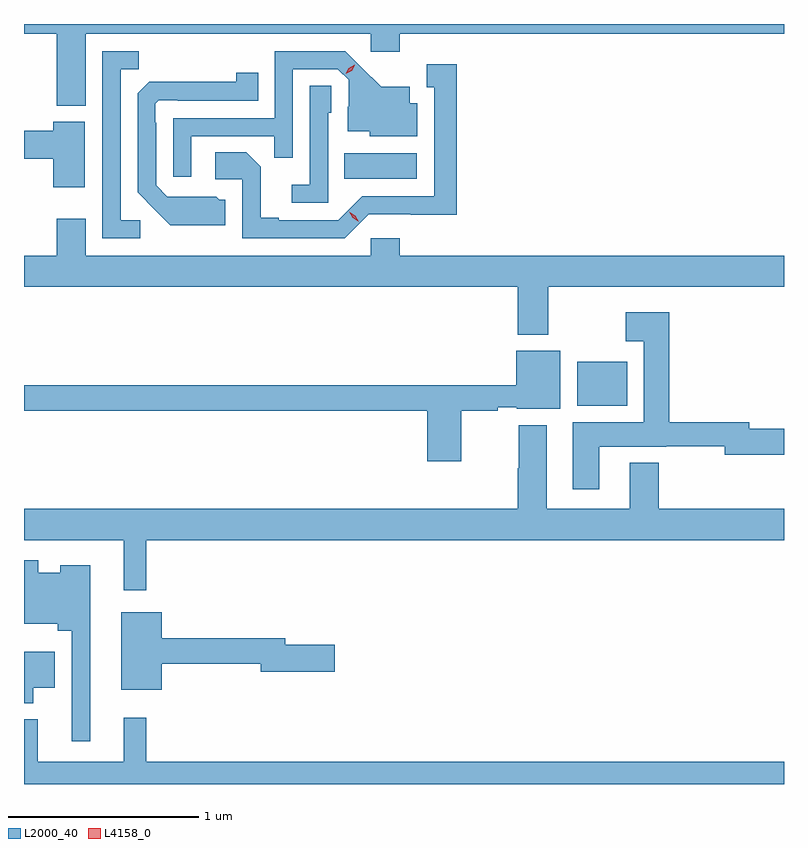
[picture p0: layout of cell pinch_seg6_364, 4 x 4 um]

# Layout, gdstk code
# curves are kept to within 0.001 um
import gdstk
lib = gdstk.Library(unit=1e-6, precision=1e-09)
def R(c, l, rs):  # rectangles x0, y0, x1, y1
    for r in rs: c.add(gdstk.rectangle(r[:2], r[2:], *l))
def P(c, l, *ps):  # polygons
    for p in ps: c.add(gdstk.Polygon(p, *l))
L2000_40 = (2000, 40)
L4158_0 = (4158, 0)

pinch_seg6_364 = lib.new_cell('pinch_seg6_364')
R(pinch_seg6_364, L2000_40, [(637.205,949.376,637.468,949.606), (635.98,950.57,636.361,950.704)])
P(pinch_seg6_364, L2000_40, [(634.618,951.332),(636.12,951.332),(636.12,951.237),(636.272,951.237),(636.272,951.332),(638.294,951.332),(638.294,951.384),(634.294,951.384),(634.294,951.332),(634.466,951.332),(634.466,950.954),(634.618,950.954)],
  [(634.906,950.352),(634.803,950.352),(634.803,951.145),(634.899,951.145),(634.899,951.24),(634.707,951.24),(634.707,950.256),(634.906,950.256)],
  [(635.175,950.793),(635.611,950.793),(635.611,950.68),(635.709,950.68),(635.709,951.147),(635.946,951.147),(636.003,951.09),(636.003,950.948),(635.999,950.948),(635.999,950.819),(636.114,950.819),(636.114,950.792),(636.364,950.792),(636.364,950.968),(636.325,950.968),(636.325,951.055),(636.173,951.055),(635.986,951.24),(635.613,951.24),(635.613,950.889),(635.079,950.889),(635.079,950.58),(635.175,950.58)],
  [(636.108,950.382),(636.571,950.381),(636.571,951.172),(636.413,951.172),(636.413,951.051),(636.452,951.051),(636.452,950.478),(636.075,950.478),(635.949,950.352),(635.635,950.352),(635.635,950.365),(635.541,950.365),(635.541,950.632),(635.465,950.708),(635.301,950.708),(635.301,950.568),(635.442,950.568),(635.442,950.256),(635.982,950.256)],
  [(635.353,950.46),(635.322,950.46),(635.306,950.476),(635.049,950.475),(634.989,950.535),(634.989,950.864),(634.986,950.864),(634.986,950.964),(635.004,950.982),(635.104,950.982),(635.104,950.979),(635.528,950.979),(635.528,951.127),(635.41,951.127),(635.41,951.08),(634.952,951.079),(634.893,951.02),(634.893,950.498),(635.065,950.324),(635.353,950.324)],
  [(635.895,950.916),(635.91,950.916),(635.91,951.059),(635.799,951.059),(635.799,950.539),(635.703,950.539),(635.703,950.442),(635.895,950.442)],
  [(634.615,950.869),(634.448,950.869),(634.448,950.822),(634.294,950.822),(634.294,950.675),(634.448,950.675),(634.448,950.526),(634.615,950.526)],
  [(637.053,950),(638.294,950),(638.294,950.164),(636.272,950.164),(636.272,950.257),(636.12,950.257),(636.12,950.164),(634.618,950.164),(634.618,950.359),(634.466,950.359),(634.466,950.164),(634.294,950.164),(634.294,950),(636.893,950),(636.893,949.748),(637.053,949.748)],
  [(637.321,949.16),(637.674,949.16),(637.674,949.161),(637.982,949.161),(637.982,949.118),(638.294,949.118),(638.294,949.253),(638.11,949.253),(638.11,949.289),(637.691,949.289),(637.691,949.867),(637.461,949.867),(637.461,949.715),(637.556,949.715),(637.556,949.288),(637.181,949.288),(637.181,948.936),(637.321,948.936)],
  [(636.594,949.348),(636.788,949.348),(636.788,949.368),(636.888,949.368),(636.888,949.358),(637.117,949.358),(637.117,949.663),(636.884,949.663),(636.884,949.484),(634.294,949.484),(634.294,949.348),(636.416,949.348),(636.416,949.083),(636.594,949.083)],
  [(634.937,948.668),(638.294,948.668),(638.294,948.832),(637.634,948.832),(637.634,949.075),(637.481,949.075),(637.481,948.832),(637.045,948.832),(637.045,949.273),(636.898,949.273),(636.898,949.047),(636.893,949.047),(636.893,948.832),(634.294,948.832),(634.294,948.668),(634.82,948.668),(634.82,948.405),(634.937,948.405)],
  [(634.642,948.535),(634.484,948.535),(634.484,948.496),(634.368,948.496),(634.368,948.562),(634.294,948.562),(634.294,948.227),(634.472,948.227),(634.472,948.191),(634.545,948.191),(634.545,947.61),(634.642,947.61)],
  [(635.02,948.016),(635.54,948.016),(635.54,947.974),(635.929,947.974),(635.929,948.116),(635.668,948.116),(635.668,948.152),(635.02,948.152),(635.02,948.289),(634.805,948.289),(634.805,947.879),(635.02,947.879)],
  [(634.342,947.891),(634.456,947.891),(634.456,948.079),(634.294,948.079),(634.294,947.81),(634.342,947.81)],
  [(638.294,947.5),(634.937,947.5),(634.937,947.734),(634.82,947.734),(634.82,947.5),(634.367,947.5),(634.367,947.725),(634.294,947.725),(634.294,947.384),(638.294,947.384)])
P(pinch_seg6_364, L4158_0, [(636.055,950.344),(636.023,950.363),(636.006,950.395),(636.006,950.396),(636.006,950.396),(636.038,950.376),(636.055,950.344),(636.055,950.344)],
  [(635.987,951.122),(635.987,951.122),(636.004,951.152),(636.034,951.169),(636.034,951.169),(636.034,951.168),(636.018,951.138),(635.988,951.122)])

lib.write_gds('pinch_seg6_364.gds')
